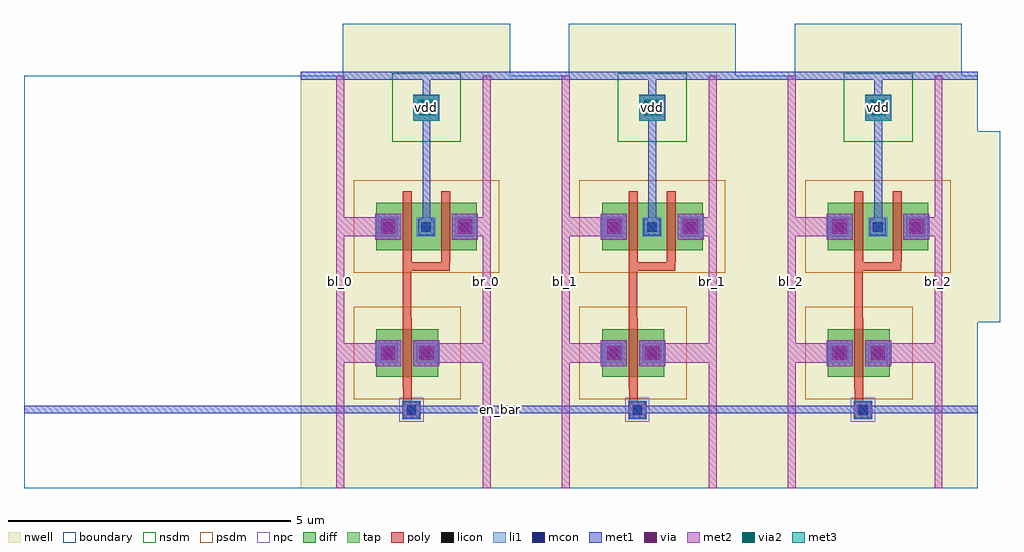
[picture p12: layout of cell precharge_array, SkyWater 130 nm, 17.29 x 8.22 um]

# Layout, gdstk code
import gdstk
lib = gdstk.Library(unit=1e-6, precision=1e-09)
def R(c, l, rs):  # rectangles x0, y0, x1, y1
    for r in rs: c.add(gdstk.rectangle(r[:2], r[2:], *l))
def A(c, l, x, y, w, h, nx, ny, dx, dy):  # array of equal rectangles
    R(c, l, [(x+i*dx, y+j*dy, x+i*dx+w, y+j*dy+h) for i in range(nx) for j in range(ny)])
nwell = (64, 20)
diff = (65, 20)
tap = (65, 44)
poly = (66, 20)
licon = (66, 44)
li1 = (67, 20)
mcon = (67, 44)
met1 = (68, 20)
via = (68, 44)
met2 = (69, 20)
via2 = (69, 44)
met3 = (70, 20)
nsdm = (93, 44)
psdm = (94, 20)
npc = (95, 20)
boundary = (235, 4)

contact_10 = lib.new_cell('contact_10')
R(contact_10, nwell, [(-1.27,-1.27,1.69,1.69)])
R(contact_10, diff, [(0,0,0.42,0.42)])
R(contact_10, licon, [(0.12,0.12,0.29,0.29)])
R(contact_10, li1, [(0.04,0.04,0.37,0.37)])
R(contact_10, psdm, [(-0.4,-0.4,0.82,0.82)])
R(contact_10, boundary, [(-1.27,-1.27,1.69,1.69)])

pmos_m1_w0_840_sli_dli = lib.new_cell('pmos_m1_w0_840_sli_dli')
R(pmos_m1_w0_840_sli_dli, nwell, [(-1.27,-1.27,2.37,2.11)])
R(pmos_m1_w0_840_sli_dli, diff, [(0,0,1.1,0.84)])
R(pmos_m1_w0_840_sli_dli, poly, [(0.47,-0.21,0.62,1.05), (0.47,-0.21,0.63,1.05)])
R(pmos_m1_w0_840_sli_dli, li1, [(0.05,0.25,0.37,0.59), (0.73,0.25,1.05,0.59)])
R(pmos_m1_w0_840_sli_dli, psdm, [(-0.4,-0.4,1.5,1.24)])
R(pmos_m1_w0_840_sli_dli, boundary, [(-1.27,-1.27,2.37,2.11)])
pmos_m1_w0_840_sli_dli.add(gdstk.Reference(contact_10, (0,0.21)))
pmos_m1_w0_840_sli_dli.add(gdstk.Reference(contact_10, (0.68,0.21)))
pmos_m1_w0_840_sli_dli.add(gdstk.Label('G', (0.55,0.42), layer=66, texttype=20))
pmos_m1_w0_840_sli_dli.add(gdstk.Label('S', (0.21,0.42), layer=67, texttype=20))
pmos_m1_w0_840_sli_dli.add(gdstk.Label('D', (0.89,0.42), layer=67, texttype=20))

contact_13 = lib.new_cell('contact_13')
R(contact_13, poly, [(0,0,0.33,0.33)])
R(contact_13, licon, [(0.08,0.08,0.25,0.25)])
R(contact_13, li1, [(0,0,0.33,0.33)])
R(contact_13, npc, [(-0.05,-0.05,0.38,0.38)])
R(contact_13, boundary, [(-0.05,-0.05,0.38,0.38)])

contact_14 = lib.new_cell('contact_14')
R(contact_14, li1, [(0,0,0.33,0.33)])
R(contact_14, mcon, [(0.08,0.08,0.25,0.25)])
R(contact_14, met1, [(0.02,0.02,0.31,0.31)])
R(contact_14, boundary, [(0,0,0.33,0.33)])

contact_20 = lib.new_cell('contact_20')
R(contact_20, nwell, [(-1.27,-1.27,1.69,1.69)])
R(contact_20, tap, [(0,0,0.42,0.42)])
R(contact_20, licon, [(0.12,0.12,0.29,0.29)])
R(contact_20, li1, [(0.04,0.04,0.37,0.37)])
R(contact_20, nsdm, [(-0.4,-0.4,0.82,0.82)])
R(contact_20, boundary, [(-1.27,-1.27,1.69,1.69)])

contact_6 = lib.new_cell('contact_6')
R(contact_6, met1, [(0,0,0.46,0.46)])
R(contact_6, via, [(0.1,0.1,0.36,0.36)])
R(contact_6, met2, [(0,0,0.46,0.46)])
R(contact_6, boundary, [(0,0,0.46,0.46)])

contact_21 = lib.new_cell('contact_21')
R(contact_21, met1, [(0,0,0.46,0.46)])
R(contact_21, via, [(0.1,0.1,0.36,0.36)])
R(contact_21, met2, [(0,0,0.46,0.46)])
R(contact_21, boundary, [(0,0,0.46,0.46)])

contact_22 = lib.new_cell('contact_22')
R(contact_22, met2, [(0,0,0.46,0.46)])
R(contact_22, via2, [(0.09,0.09,0.37,0.37)])
R(contact_22, met3, [(0.01,0.01,0.45,0.45)])
R(contact_22, boundary, [(0,0,0.46,0.46)])

contact_23 = lib.new_cell('contact_23')
R(contact_23, li1, [(0,0,0.33,0.33)])
R(contact_23, mcon, [(0.08,0.08,0.25,0.25)])
R(contact_23, met1, [(0.02,0.02,0.31,0.31)])
R(contact_23, boundary, [(0,0,0.33,0.33)])

precharge_0 = lib.new_cell('precharge_0')
R(precharge_0, nwell, [(0,0,4,7.3)])
R(precharge_0, poly, [(1.82,1.3,1.97,1.45), (1.89,1.3,1.97,1.45), (1.82,1.38,1.97,1.76), (1.81,3.02,1.96,4), (1.81,3.85,2.64,4)])
R(precharge_0, met1, [(0,1.32,4,1.46), (2.16,4.63,2.3,7.3), (0,7.23,4,7.37)])
R(precharge_0, met2, [(0.63,0,0.77,7.3), (0.63,0,0.77,7.3), (3.23,0,3.37,7.3), (3.23,0,3.37,7.3), (0.7,2.22,1.55,2.56), (2.23,2.22,3.3,2.56), (0.7,4.46,1.55,4.8), (2.91,4.46,3.3,4.8)])
R(precharge_0, met3, [(2,6.51,2.46,6.97)])
R(precharge_0, boundary, [(0,0,4,7.3)])
precharge_0.add(gdstk.Reference(pmos_m1_w0_840_sli_dli, (1.34,1.97)))
precharge_0.add(gdstk.Reference(pmos_m1_w0_840_sli_dli, (1.34,4.21)))
precharge_0.add(gdstk.Reference(pmos_m1_w0_840_sli_dli, (2.02,4.21)))
precharge_0.add(gdstk.Reference(contact_13, (1.8,1.22)))
precharge_0.add(gdstk.Reference(contact_14, (1.8,1.22)))
precharge_0.add(gdstk.Reference(contact_20, (2.02,6.53)))
precharge_0.add(gdstk.Reference(contact_14, (2.06,6.58)))
precharge_0.add(gdstk.Reference(contact_6, (2,6.51)))
precharge_0.add(gdstk.Reference(contact_21, (2,6.51)))
precharge_0.add(gdstk.Reference(contact_22, (2,6.51)))
precharge_0.add(gdstk.Reference(contact_23, (2.06,4.46)))
precharge_0.add(gdstk.Reference(contact_23, (1.38,2.22)))
precharge_0.add(gdstk.Reference(contact_21, (1.32,2.16)))
precharge_0.add(gdstk.Reference(contact_23, (2.06,2.22)))
precharge_0.add(gdstk.Reference(contact_21, (2,2.16)))
precharge_0.add(gdstk.Reference(contact_23, (1.38,4.46)))
precharge_0.add(gdstk.Reference(contact_21, (1.32,4.4)))
precharge_0.add(gdstk.Reference(contact_23, (2.74,4.46)))
precharge_0.add(gdstk.Reference(contact_21, (2.68,4.4)))
precharge_0.add(gdstk.Label('en_bar', (2,1.39), layer=68, texttype=20))
precharge_0.add(gdstk.Label('vdd', (2.23,6.74), layer=70, texttype=20))
precharge_0.add(gdstk.Label('bl', (0.7,3.65), layer=69, texttype=20))
precharge_0.add(gdstk.Label('br', (3.3,3.65), layer=69, texttype=20))

precharge_array = lib.new_cell('precharge_array')
A(precharge_array, met1, 6.83, 1.32, 0.14, 0.14, 3, 1, 4, 0)
R(precharge_array, met1, [(0,1.32,16.9,1.46)])
R(precharge_array, met2, [(5.53,0,5.67,7.3), (8.13,0,8.27,7.3), (9.53,0,9.67,7.3), (12.13,0,12.27,7.3), (13.53,0,13.67,7.3), (16.13,0,16.27,7.3)])
A(precharge_array, met3, 6.9, 6.51, 0.46, 0.46, 3, 1, 4, 0)
R(precharge_array, boundary, [(0,0,16.9,7.3)])
precharge_array.add(gdstk.Reference(precharge_0, (4.9,0)))
precharge_array.add(gdstk.Reference(precharge_0, (8.9,0)))
precharge_array.add(gdstk.Reference(precharge_0, (12.9,0)))
precharge_array.add(gdstk.Label('en_bar', (8.45,1.39), layer=68, texttype=20))
precharge_array.add(gdstk.Label('vdd', (15.13,6.74), layer=70, texttype=20))
precharge_array.add(gdstk.Label('vdd', (11.13,6.74), layer=70, texttype=20))
precharge_array.add(gdstk.Label('vdd', (7.13,6.74), layer=70, texttype=20))
precharge_array.add(gdstk.Label('bl_0', (5.6,3.65), layer=69, texttype=20))
precharge_array.add(gdstk.Label('br_0', (8.2,3.65), layer=69, texttype=20))
precharge_array.add(gdstk.Label('bl_1', (9.6,3.65), layer=69, texttype=20))
precharge_array.add(gdstk.Label('br_1', (12.2,3.65), layer=69, texttype=20))
precharge_array.add(gdstk.Label('bl_2', (13.6,3.65), layer=69, texttype=20))
precharge_array.add(gdstk.Label('br_2', (16.2,3.65), layer=69, texttype=20))

lib.write_gds('precharge_array.gds')
